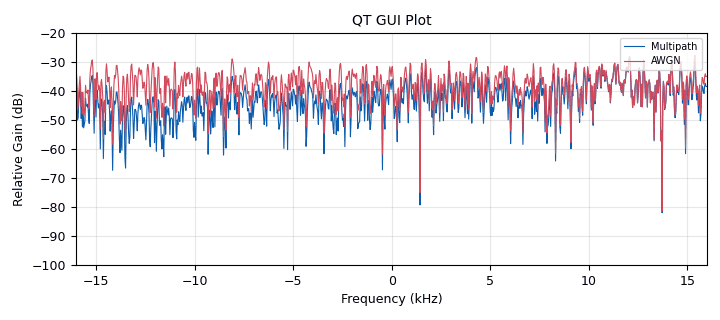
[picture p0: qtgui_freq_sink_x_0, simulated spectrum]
<?xml version='1.0' encoding='utf-8'?>
<?grc format='1' created='3.7.11'?>
<flow_graph>
<block>
<key>options</key>
<param><key>id</key><value>multipath_sim</value></param>
<param><key>category</key><value>Custom</value></param>
<param><key>generate_options</key><value>qt_gui</value></param>
</block>
<block>
<key>variable</key>
<param><key>id</key><value>arity</value></param>
<param><key>value</key><value>4</value></param>
</block>
<block>
<key>variable</key>
<param><key>id</key><value>samp_rate</value></param>
<param><key>value</key><value>32000</value></param>
</block>
<block>
<key>variable</key>
<param><key>id</key><value>sps</value></param>
<param><key>value</key><value>4</value></param>
</block>
<block>
<key>variable_qtgui_range</key>
<param><key>id</key><value>tap1</value></param>
<param><key>value</key><value>0.25</value></param>
<param><key>gui_hint</key><value>0,11,1,1</value></param>
<param><key>orient</key><value>Qt.Vertical</value></param>
<param><key>start</key><value>0</value></param>
<param><key>step</key><value>0.01</value></param>
<param><key>stop</key><value>1</value></param>
<param><key>widget</key><value>slider</value></param>
</block>
<block>
<key>variable_qtgui_range</key>
<param><key>id</key><value>tap2</value></param>
<param><key>value</key><value>0.5</value></param>
<param><key>gui_hint</key><value>0,12,1,1</value></param>
<param><key>orient</key><value>Qt.Vertical</value></param>
<param><key>start</key><value>0</value></param>
<param><key>step</key><value>0.01</value></param>
<param><key>stop</key><value>1</value></param>
<param><key>widget</key><value>slider</value></param>
</block>
<block>
<key>variable_qtgui_range</key>
<param><key>id</key><value>tap3</value></param>
<param><key>value</key><value>0.6</value></param>
<param><key>gui_hint</key><value>0,13,1,1</value></param>
<param><key>orient</key><value>Qt.Vertical</value></param>
<param><key>start</key><value>0</value></param>
<param><key>step</key><value>0.01</value></param>
<param><key>stop</key><value>1</value></param>
<param><key>widget</key><value>slider</value></param>
</block>
<block>
<key>variable_qtgui_range</key>
<param><key>id</key><value>tap4</value></param>
<param><key>value</key><value>0.6</value></param>
<param><key>gui_hint</key><value>0,14,1,1</value></param>
<param><key>orient</key><value>Qt.Vertical</value></param>
<param><key>start</key><value>0</value></param>
<param><key>step</key><value>0.01</value></param>
<param><key>stop</key><value>1</value></param>
<param><key>widget</key><value>slider</value></param>
</block>
<block>
<key>variable</key>
<param><key>id</key><value>taps</value></param>
<param><key>value</key><value>fftpack.ifftshift(fftpack.ifft([tap3, tap4, 1.0, tap1, tap2]))</value></param>
</block>
<block>
<key>analog_noise_source_x</key>
<param><key>id</key><value>analog_noise_source_x_0</value></param>
<param><key>amp</key><value>1</value></param>
<param><key>noise_type</key><value>analog.GR_GAUSSIAN</value></param>
<param><key>type</key><value>complex</value></param>
<param><key>seed</key><value>0</value></param>
</block>
<block>
<key>blocks_throttle</key>
<param><key>id</key><value>blocks_throttle_0</value></param>
<param><key>samples_per_second</key><value>samp_rate</value></param>
<param><key>type</key><value>complex</value></param>
</block>
<block>
<key>channels_channel_model</key>
<param><key>id</key><value>channels_channel_model_0</value></param>
<param><key>epsilon</key><value>1.0</value></param>
<param><key>freq_offset</key><value>0.0</value></param>
<param><key>noise_voltage</key><value>0.0</value></param>
<param><key>seed</key><value>0</value></param>
<param><key>taps</key><value>taps</value></param>
</block>
<block>
<key>import</key>
<param><key>id</key><value>import_math</value></param>
<param><key>import</key><value>import math</value></param>
</block>
<block>
<key>import</key>
<param><key>id</key><value>import_scipy</value></param>
<param><key>import</key><value>from scipy import fftpack</value></param>
</block>
<block>
<key>qtgui_freq_sink_x</key>
<param><key>id</key><value>qtgui_freq_sink_x_0</value></param>
<param><key>bw</key><value>samp_rate</value></param>
<param><key>fc</key><value>0</value></param>
<param><key>fftsize</key><value>1024</value></param>
<param><key>gui_hint</key><value>0,0,1,10</value></param>
<param><key>label1</key><value>Multipath</value></param>
<param><key>width1</key><value>2</value></param>
<param><key>label2</key><value>AWGN</value></param>
<param><key>width2</key><value>2</value></param>
<param><key>name</key><value>QT GUI Plot</value></param>
<param><key>nconnections</key><value>2</value></param>
<param><key>showports</key><value>True</value></param>
<param><key>type</key><value>complex</value></param>
<param><key>wintype</key><value>firdes.WIN_BLACKMAN_hARRIS</value></param>
<param><key>ymax</key><value>-20</value></param>
<param><key>ymin</key><value>-100</value></param>
</block>
<connection><source_block_id>analog_noise_source_x_0</source_block_id><sink_block_id>blocks_throttle_0</sink_block_id><source_key>0</source_key><sink_key>0</sink_key></connection>
<connection><source_block_id>blocks_throttle_0</source_block_id><sink_block_id>channels_channel_model_0</sink_block_id><source_key>0</source_key><sink_key>0</sink_key></connection>
<connection><source_block_id>blocks_throttle_0</source_block_id><sink_block_id>qtgui_freq_sink_x_0</sink_block_id><source_key>0</source_key><sink_key>1</sink_key></connection>
<connection><source_block_id>channels_channel_model_0</source_block_id><sink_block_id>qtgui_freq_sink_x_0</sink_block_id><source_key>0</source_key><sink_key>0</sink_key></connection>
</flow_graph>
